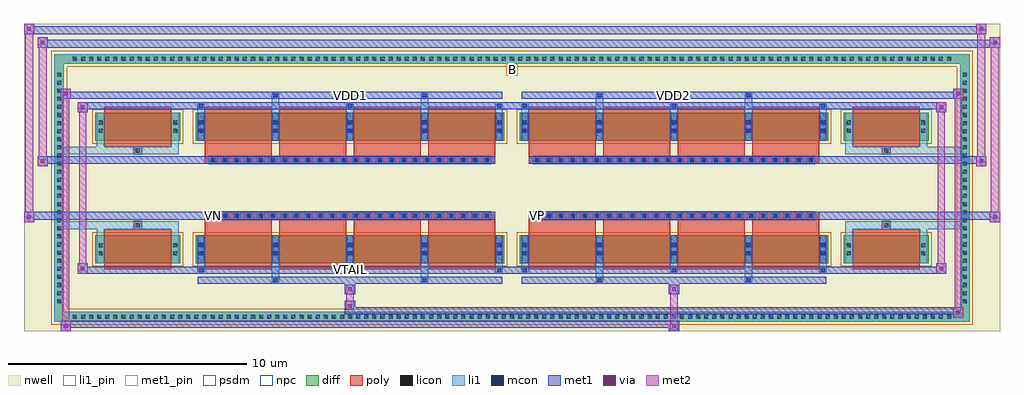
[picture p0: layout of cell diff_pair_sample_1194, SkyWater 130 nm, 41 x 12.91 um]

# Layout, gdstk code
import gdstk
lib = gdstk.Library(unit=1e-6, precision=5e-09)
def R(c, l, rs):  # rectangles x0, y0, x1, y1
    for r in rs: c.add(gdstk.rectangle(r[:2], r[2:], *l))
def A(c, l, x, y, w, h, nx, ny, dx, dy):  # array of equal rectangles
    R(c, l, [(x+i*dx, y+j*dy, x+i*dx+w, y+j*dy+h) for i in range(nx) for j in range(ny)])
def P(c, l, *ps):  # polygons
    for p in ps: c.add(gdstk.Polygon(p, *l))
nwell = (64, 20)
diff = (65, 20)
poly = (66, 20)
licon = (66, 44)
li1_pin = (67, 16)
li1 = (67, 20)
mcon = (67, 44)
met1_pin = (68, 16)
met1 = (68, 20)
via = (68, 44)
met2 = (69, 20)
psdm = (94, 20)
npc = (95, 20)

diff_pair_sample_1194 = lib.new_cell('diff_pair_sample_1194')
R(diff_pair_sample_1194, nwell, [(-20.5,-6.02,20.5,6.89), (-17.82,-4.21,-0.01,-0.805), (0.01,-4.21,17.82,-0.805), (-17.82,0.805,-0.01,4.21), (0.01,0.805,17.82,4.21)])
A(diff_pair_sample_1194, diff, -18.565, -5.62, 0.41, 0.41, 109, 2, 0.34, 10.83)
A(diff_pair_sample_1194, diff, -19.23, -4.965, 0.41, 0.41, 1, 29, 0, 0.34)
A(diff_pair_sample_1194, diff, 18.82, -4.965, 0.41, 0.41, 1, 29, 0, 0.34)
R(diff_pair_sample_1194, diff, [(-18.565,-5.62,18.565,-5.21), (-19.23,-4.965,-18.82,4.965), (18.82,-4.965,19.23,4.965), (-17.51,-3.165,-13.93,-1.985), (-13.29,-3.165,-0.32,-1.985), (0.32,-3.165,13.29,-1.985), (13.93,-3.165,17.51,-1.985), (-17.51,1.985,-13.93,3.165), (-13.29,1.985,-0.32,3.165), (0.32,1.985,13.29,3.165), (13.93,1.985,17.51,3.165), (-18.565,5.21,18.565,5.62)])
P(diff_pair_sample_1194, diff, [(19.23,5.62),(-19.23,5.62),(-19.23,-5.21),(-18.82,-5.21),(-18.82,5.21),(18.82,5.21),(18.82,-5.21),(-18.82,-5.21),(-19.23,-5.21),(-19.23,-5.62),(19.23,-5.62)])
A(diff_pair_sample_1194, poly, -12.9, -3.415, 2.8, 1.68, 4, 2, 3.13, 5.15)
A(diff_pair_sample_1194, poly, 0.71, -3.415, 2.8, 1.68, 4, 2, 3.13, 5.15)
A(diff_pair_sample_1194, poly, -12.9, -1.735, 2.8, 0.4, 4, 2, 3.13, 3.07)
A(diff_pair_sample_1194, poly, 0.71, -1.735, 2.8, 0.4, 4, 2, 3.13, 3.07)
A(diff_pair_sample_1194, poly, -12.72, -1.335, 0.33, 0.33, 24, 2, 0.5, 2.34)
A(diff_pair_sample_1194, poly, 0.89, -1.335, 0.33, 0.33, 24, 2, 0.5, 2.34)
R(diff_pair_sample_1194, poly, [(-17.12,-3.415,-14.32,-1.735), (14.32,-3.415,17.12,-1.735), (-15.885,-1.735,-15.555,-1.405), (-15.885,-1.735,-15.555,-1.405), (15.555,-1.735,15.885,-1.405), (15.555,-1.735,15.885,-1.405), (-12.9,-1.335,-0.71,-1.005), (0.71,-1.335,12.9,-1.005), (-12.9,1.005,-0.71,1.335), (0.71,1.005,12.9,1.335), (-15.885,1.405,-15.555,1.735), (-15.885,1.405,-15.555,1.735), (15.555,1.405,15.885,1.735), (15.555,1.405,15.885,1.735), (-17.12,1.735,-14.32,3.415), (14.32,1.735,17.12,3.415)])
A(diff_pair_sample_1194, licon, -18.445, -5.5, 0.17, 0.17, 109, 2, 0.34, 10.83)
A(diff_pair_sample_1194, licon, -19.11, -4.845, 0.17, 0.17, 1, 29, 0, 0.34)
A(diff_pair_sample_1194, licon, 18.94, -4.845, 0.17, 0.17, 1, 29, 0, 0.34)
A(diff_pair_sample_1194, licon, -13.15, -2.83, 0.17, 0.17, 5, 2, 3.13, 0.34)
A(diff_pair_sample_1194, licon, 0.46, -2.83, 0.17, 0.17, 5, 2, 3.13, 0.34)
A(diff_pair_sample_1194, licon, -12.64, -1.255, 0.17, 0.17, 24, 2, 0.5, 2.34)
A(diff_pair_sample_1194, licon, 0.97, -1.255, 0.17, 0.17, 24, 2, 0.5, 2.34)
A(diff_pair_sample_1194, licon, -13.15, 2.32, 0.17, 0.17, 5, 2, 3.13, 0.34)
A(diff_pair_sample_1194, licon, 0.46, 2.32, 0.17, 0.17, 5, 2, 3.13, 0.34)
R(diff_pair_sample_1194, licon, [(-17.37,-2.83,-17.2,-2.66), (-14.24,-2.83,-14.07,-2.66), (14.07,-2.83,14.24,-2.66), (17.2,-2.83,17.37,-2.66), (-17.37,-2.49,-17.2,-2.32), (-14.24,-2.49,-14.07,-2.32), (14.07,-2.49,14.24,-2.32), (17.2,-2.49,17.37,-2.32), (-15.805,-1.655,-15.635,-1.485), (15.635,-1.655,15.805,-1.485), (-15.805,1.485,-15.635,1.655), (15.635,1.485,15.805,1.655), (-17.37,2.32,-17.2,2.49), (-14.24,2.32,-14.07,2.49), (14.07,2.32,14.24,2.49), (17.2,2.32,17.37,2.49), (-17.37,2.66,-17.2,2.83), (-14.24,2.66,-14.07,2.83), (14.07,2.66,14.24,2.83), (17.2,2.66,17.37,2.83)])
R(diff_pair_sample_1194, li1_pin, [(-0.25,4.71,0.25,5.21)])
A(diff_pair_sample_1194, li1, -18.525, -5.58, 0.33, 0.33, 109, 2, 0.34, 10.83)
A(diff_pair_sample_1194, li1, -19.19, -4.925, 0.33, 0.33, 1, 29, 0, 0.34)
A(diff_pair_sample_1194, li1, 18.86, -4.925, 0.33, 0.33, 1, 29, 0, 0.34)
A(diff_pair_sample_1194, li1, -13.23, -3.54, 0.33, 0.375, 3, 2, 6.26, 6.705)
A(diff_pair_sample_1194, li1, -13.15, -3.54, 0.17, 0.17, 3, 2, 6.26, 6.91)
A(diff_pair_sample_1194, li1, 0.38, -3.54, 0.33, 0.375, 3, 2, 6.26, 6.705)
A(diff_pair_sample_1194, li1, 0.46, -3.54, 0.17, 0.17, 3, 2, 6.26, 6.91)
A(diff_pair_sample_1194, li1, -13.23, -3.165, 0.33, 1.18, 5, 2, 3.13, 5.15)
A(diff_pair_sample_1194, li1, 0.38, -3.165, 0.33, 1.18, 5, 2, 3.13, 5.15)
A(diff_pair_sample_1194, li1, -13.23, -2.91, 0.33, 0.33, 5, 2, 3.13, 0.34)
A(diff_pair_sample_1194, li1, 0.38, -2.91, 0.33, 0.33, 5, 2, 3.13, 0.34)
A(diff_pair_sample_1194, li1, -13.15, -2.84, 0.17, 0.17, 5, 2, 3.13, 0.36)
A(diff_pair_sample_1194, li1, -13.15, -2.84, 0.17, 0.53, 5, 2, 3.13, 5.15)
A(diff_pair_sample_1194, li1, 0.46, -2.84, 0.17, 0.17, 5, 2, 3.13, 0.36)
A(diff_pair_sample_1194, li1, 0.46, -2.84, 0.17, 0.53, 5, 2, 3.13, 5.15)
A(diff_pair_sample_1194, li1, -12.72, -1.335, 0.33, 0.33, 24, 2, 0.5, 2.34)
A(diff_pair_sample_1194, li1, 0.89, -1.335, 0.33, 0.33, 24, 2, 0.5, 2.34)
A(diff_pair_sample_1194, li1, -13.23, 2.24, 0.33, 0.33, 5, 2, 3.13, 0.34)
A(diff_pair_sample_1194, li1, 0.38, 2.24, 0.33, 0.33, 5, 2, 3.13, 0.34)
A(diff_pair_sample_1194, li1, -13.15, 2.31, 0.17, 0.17, 5, 2, 3.13, 0.36)
A(diff_pair_sample_1194, li1, 0.46, 2.31, 0.17, 0.17, 5, 2, 3.13, 0.36)
R(diff_pair_sample_1194, li1, [(-19.23,-5.62,-18.82,-5.21), (-19.23,-5.62,-18.82,-5.21), (-18.82,-5.62,18.82,-5.21), (18.82,-5.62,19.23,-5.21), (18.82,-5.62,19.23,-5.21), (-19.23,-5.21,-18.82,5.21), (18.82,-5.21,19.23,5.21), (-10.1,-3.97,-9.77,-3.165), (-10.02,-3.97,-9.85,-3.8), (-3.84,-3.97,-3.51,-3.165), (-3.76,-3.97,-3.59,-3.8), (3.51,-3.97,3.84,-3.165), (3.59,-3.97,3.76,-3.8), (9.77,-3.97,10.1,-3.165), (9.85,-3.97,10.02,-3.8), (-17.45,-3.165,-17.12,-1.985), (-14.32,-3.165,-13.99,-1.985), (13.99,-3.165,14.32,-1.985), (17.12,-3.165,17.45,-1.985), (-17.45,-2.91,-17.12,-2.58), (-14.32,-2.91,-13.99,-2.58), (13.99,-2.91,14.32,-2.58), (17.12,-2.91,17.45,-2.58), (-17.45,-2.57,-17.12,-2.24), (-14.32,-2.57,-13.99,-2.24), (13.99,-2.57,14.32,-2.24), (17.12,-2.57,17.45,-2.24), (-17.45,-1.985,-17.12,-1.405), (-14.32,-1.985,-13.99,-1.405), (13.99,-1.985,14.32,-1.405), (17.12,-1.985,17.45,-1.405), (-19.23,-1.735,-15.885,-1.405), (-17.45,-1.735,-15.885,-1.405), (-15.885,-1.735,-15.555,-1.405), (-15.555,-1.735,-13.99,-1.405), (13.99,-1.735,15.555,-1.405), (15.555,-1.735,15.885,-1.405), (15.555,-1.735,19.23,-1.405), (15.885,-1.735,17.45,-1.405), (-19.23,1.405,-15.885,1.735), (-17.45,1.405,-15.885,1.735), (-17.45,1.405,-17.12,1.985), (-15.885,1.405,-15.555,1.735), (-15.555,1.405,-13.99,1.735), (-14.32,1.405,-13.99,1.985), (13.99,1.405,15.555,1.735), (13.99,1.405,14.32,1.985), (15.555,1.405,15.885,1.735), (15.555,1.405,19.23,1.735), (15.885,1.405,17.45,1.735), (17.12,1.405,17.45,1.985), (-17.45,1.985,-17.12,3.165), (-14.32,1.985,-13.99,3.165), (13.99,1.985,14.32,3.165), (17.12,1.985,17.45,3.165), (-17.45,2.24,-17.12,2.57), (-14.32,2.24,-13.99,2.57), (13.99,2.24,14.32,2.57), (17.12,2.24,17.45,2.57), (-17.45,2.58,-17.12,2.91), (-14.32,2.58,-13.99,2.91), (13.99,2.58,14.32,2.91), (17.12,2.58,17.45,2.91), (-10.1,3.165,-9.77,3.97), (-3.84,3.165,-3.51,3.97), (3.51,3.165,3.84,3.97), (9.77,3.165,10.1,3.97), (-10.02,3.8,-9.85,3.97), (-3.76,3.8,-3.59,3.97), (3.59,3.8,3.76,3.97), (9.85,3.8,10.02,3.97), (-19.23,5.21,-18.82,5.62), (-19.23,5.21,-18.82,5.62), (-18.82,5.21,18.82,5.62), (18.82,5.21,19.23,5.62), (18.82,5.21,19.23,5.62)])
A(diff_pair_sample_1194, mcon, -13.15, -3.54, 0.17, 0.17, 3, 2, 6.26, 6.91)
A(diff_pair_sample_1194, mcon, 0.46, -3.54, 0.17, 0.17, 3, 2, 6.26, 6.91)
A(diff_pair_sample_1194, mcon, -13.15, -2.84, 0.17, 0.17, 5, 2, 3.13, 0.36)
A(diff_pair_sample_1194, mcon, 0.46, -2.84, 0.17, 0.17, 5, 2, 3.13, 0.36)
A(diff_pair_sample_1194, mcon, -12.64, -1.255, 0.17, 0.17, 24, 2, 0.5, 2.34)
A(diff_pair_sample_1194, mcon, 0.97, -1.255, 0.17, 0.17, 24, 2, 0.5, 2.34)
A(diff_pair_sample_1194, mcon, -13.15, 2.31, 0.17, 0.17, 5, 2, 3.13, 0.36)
A(diff_pair_sample_1194, mcon, 0.46, 2.31, 0.17, 0.17, 5, 2, 3.13, 0.36)
R(diff_pair_sample_1194, mcon, [(-10.02,-3.97,-9.85,-3.8), (-3.76,-3.97,-3.59,-3.8), (3.59,-3.97,3.76,-3.8), (9.85,-3.97,10.02,-3.8), (-10.02,3.8,-9.85,3.97), (-3.76,3.8,-3.59,3.97), (3.59,3.8,3.76,3.97), (9.85,3.8,10.02,3.97)])
R(diff_pair_sample_1194, met1_pin, [(-6.94,-3.58,-6.67,-3.31), (-12.69,-1.295,-12.42,-1.025), (0.92,-1.295,1.19,-1.025), (-6.94,3.76,-6.67,4.03), (6.67,3.76,6.94,4.03)])
A(diff_pair_sample_1194, met1, -13.21, -3.6, 0.29, 0.29, 3, 2, 6.26, 6.91)
A(diff_pair_sample_1194, met1, 0.4, -3.6, 0.29, 0.29, 3, 2, 6.26, 6.91)
A(diff_pair_sample_1194, met1, -13.21, -3.165, 0.29, 1.18, 5, 2, 3.13, 5.15)
A(diff_pair_sample_1194, met1, 0.4, -3.165, 0.29, 1.18, 5, 2, 3.13, 5.15)
A(diff_pair_sample_1194, met1, -13.21, -2.9, 0.29, 0.29, 5, 2, 3.13, 0.36)
A(diff_pair_sample_1194, met1, 0.4, -2.9, 0.29, 0.29, 5, 2, 3.13, 0.36)
A(diff_pair_sample_1194, met1, -12.7, -1.315, 0.29, 0.29, 24, 2, 0.5, 2.34)
A(diff_pair_sample_1194, met1, 0.91, -1.315, 0.29, 0.29, 24, 2, 0.5, 2.34)
A(diff_pair_sample_1194, met1, -13.21, 2.25, 0.29, 0.29, 5, 2, 3.13, 0.36)
A(diff_pair_sample_1194, met1, 0.4, 2.25, 0.29, 0.29, 5, 2, 3.13, 0.36)
R(diff_pair_sample_1194, met1, [(-18.96,-6.02,-18.53,-5.59), (6.59,-6.02,7.02,-5.59), (-18.96,-5.88,7.02,-5.59), (18.53,-5.45,18.96,-5.02), (-7.02,-5.31,18.96,-5.02), (-7.02,-5.17,-6.59,-4.74), (-7.02,-4.46,-6.59,-4.03), (6.59,-4.46,7.02,-4.03), (-13.21,-4.03,-0.4,-3.74), (-10.08,-4.03,-9.79,-3.74), (-3.82,-4.03,-3.53,-3.74), (0.4,-4.03,13.21,-3.74), (3.53,-4.03,3.82,-3.74), (9.79,-4.03,10.08,-3.74), (-18.25,-3.6,-17.82,-3.17), (-18.25,-3.6,-13.21,-3.31), (-13.21,-3.6,-0.4,-3.31), (-0.4,-3.6,0.4,-3.31), (0.4,-3.6,13.21,-3.31), (13.21,-3.6,18.25,-3.31), (17.82,-3.6,18.25,-3.17), (-20.5,-1.435,-20.07,-1.005), (20.07,-1.435,20.5,-1.005), (-20.5,-1.335,-0.71,-1.005), (-12.9,-1.335,-0.71,-1.005), (0.71,-1.335,12.9,-1.005), (0.71,-1.335,20.5,-1.005), (-19.93,0.905,-19.5,1.335), (19.5,0.905,19.93,1.335), (-19.93,1.005,-12.9,1.335), (-12.9,1.005,-0.71,1.335), (0.71,1.005,12.9,1.335), (12.9,1.005,19.93,1.335), (-18.25,3.17,-17.82,3.6), (17.82,3.17,18.25,3.6), (-18.25,3.31,-13.21,3.6), (-13.21,3.31,-0.4,3.6), (-0.4,3.31,0.4,3.6), (0.4,3.31,13.21,3.6), (13.21,3.31,18.25,3.6), (-18.96,3.74,-18.53,4.17), (-18.96,3.74,-13.21,4.03), (-13.21,3.74,-0.4,4.03), (-10.08,3.74,-9.79,4.03), (-3.82,3.74,-3.53,4.03), (0.4,3.74,13.21,4.03), (3.53,3.74,3.82,4.03), (9.79,3.74,10.08,4.03), (13.21,3.74,18.96,4.03), (18.53,3.74,18.96,4.17), (-19.93,5.89,-19.5,6.32), (-19.93,5.89,-17.82,6.22), (-17.82,5.89,17.82,6.22), (17.82,5.89,20.5,6.22), (20.07,5.89,20.5,6.32), (-20.5,6.46,-20.07,6.89), (-20.5,6.46,-17.82,6.79), (-17.82,6.46,17.82,6.79), (17.82,6.46,19.93,6.79), (19.5,6.46,19.93,6.89)])
R(diff_pair_sample_1194, via, [(-18.82,-5.88,-18.67,-5.73), (6.73,-5.88,6.88,-5.73), (18.67,-5.31,18.82,-5.16), (-6.88,-5.03,-6.73,-4.88), (-6.88,-4.32,-6.73,-4.17), (6.73,-4.32,6.88,-4.17), (-18.11,-3.46,-17.96,-3.31), (17.96,-3.46,18.11,-3.31), (-20.36,-1.295,-20.21,-1.145), (20.21,-1.295,20.36,-1.145), (-19.79,1.045,-19.64,1.195), (19.64,1.045,19.79,1.195), (-18.11,3.31,-17.96,3.46), (17.96,3.31,18.11,3.46), (-18.82,3.88,-18.67,4.03), (18.67,3.88,18.82,4.03), (-19.79,6.03,-19.64,6.18), (20.21,6.03,20.36,6.18), (-20.36,6.6,-20.21,6.75), (19.64,6.6,19.79,6.75)])
R(diff_pair_sample_1194, met2, [(-18.96,-6.02,-18.53,-5.59), (-18.89,-6.02,-18.6,4.17), (-18.6,-6.02,-18.53,-5.59), (-18.91,-5.97,-18.58,-5.64), (6.64,-5.97,6.97,-5.64), (6.64,-5.64,6.97,-4.41), (18.53,-5.45,18.96,-5.02), (18.6,-5.45,18.89,4.17), (18.89,-5.45,18.96,-5.02), (18.58,-5.4,18.91,-5.07), (-6.97,-5.12,-6.64,-4.79), (-6.97,-4.79,-6.64,-4.41), (-6.97,-4.41,-6.64,-4.08), (6.64,-4.41,6.97,-4.08), (-18.25,-3.6,-17.82,-3.17), (-18.18,-3.6,-17.89,3.6), (-17.89,-3.6,-17.82,-3.17), (17.82,-3.6,18.25,-3.17), (17.89,-3.6,18.18,3.6), (18.18,-3.6,18.25,-3.17), (-18.2,-3.55,-17.87,-3.22), (17.87,-3.55,18.2,-3.22), (-20.5,-1.435,-20.07,-1.005), (-20.45,-1.435,-20.12,6.89), (-20.12,-1.435,-20.07,-1.005), (20.07,-1.435,20.5,-1.005), (20.12,-1.435,20.45,6.32), (20.45,-1.435,20.5,-1.005), (-20.45,-1.385,-20.12,-1.055), (20.12,-1.385,20.45,-1.055), (-19.93,0.905,-19.5,1.335), (-19.88,0.905,-19.55,6.32), (-19.55,0.905,-19.5,1.335), (19.5,0.905,19.93,1.335), (19.55,0.905,19.88,6.89), (19.88,0.905,19.93,1.335), (-19.88,0.955,-19.55,1.285), (19.55,0.955,19.88,1.285), (-18.25,3.17,-17.82,3.6), (-17.89,3.17,-17.82,3.6), (17.82,3.17,18.25,3.6), (18.18,3.17,18.25,3.6), (-18.2,3.22,-17.87,3.55), (17.87,3.22,18.2,3.55), (-18.96,3.74,-18.53,4.17), (-18.6,3.74,-18.53,4.17), (18.53,3.74,18.96,4.17), (18.89,3.74,18.96,4.17), (-18.91,3.79,-18.58,4.12), (18.58,3.79,18.91,4.12), (-19.93,5.89,-19.5,6.32), (-19.55,5.89,-19.5,6.32), (20.07,5.89,20.5,6.32), (20.45,5.89,20.5,6.32), (-19.88,5.94,-19.55,6.27), (20.12,5.94,20.45,6.27), (-20.5,6.46,-20.07,6.89), (-20.12,6.46,-20.07,6.89), (19.5,6.46,19.93,6.89), (19.88,6.46,19.93,6.89), (-20.45,6.51,-20.12,6.84), (19.55,6.51,19.88,6.84)])
R(diff_pair_sample_1194, psdm, [(-17.64,-3.295,-13.8,-1.855), (-13.42,-3.295,-0.19,-1.855), (0.19,-3.295,13.42,-1.855), (13.8,-3.295,17.64,-1.855), (-17.64,1.855,-13.8,3.295), (-13.42,1.855,-0.19,3.295), (0.19,1.855,13.42,3.295), (13.8,1.855,17.64,3.295)])
P(diff_pair_sample_1194, psdm, [(19.36,5.75),(-19.36,5.75),(-19.36,-5.08),(-18.69,-5.08),(-18.69,5.08),(18.69,5.08),(18.69,-5.08),(-18.69,-5.08),(-19.36,-5.08),(-19.36,-5.75),(19.36,-5.75)])
A(diff_pair_sample_1194, npc, -12.74, -1.355, 0.37, 0.37, 24, 2, 0.5, 2.34)
A(diff_pair_sample_1194, npc, 0.87, -1.355, 0.37, 0.37, 24, 2, 0.5, 2.34)
R(diff_pair_sample_1194, npc, [(-15.905,-1.755,-15.535,-1.385), (15.535,-1.755,15.905,-1.385), (-12.74,-1.355,-11.87,-0.985), (-12.74,-1.355,-11.87,-0.985), (-12.24,-1.355,-11.37,-0.985), (-12.24,-1.355,-11.37,-0.985), (-11.74,-1.355,-10.87,-0.985), (-11.74,-1.355,-10.87,-0.985), (-11.24,-1.355,-10.37,-0.985), (-11.24,-1.355,-10.37,-0.985), (-10.74,-1.355,-9.87,-0.985), (-10.74,-1.355,-9.87,-0.985), (-10.24,-1.355,-9.37,-0.985), (-10.24,-1.355,-9.37,-0.985), (-9.74,-1.355,-8.87,-0.985), (-9.74,-1.355,-8.87,-0.985), (-9.24,-1.355,-8.37,-0.985), (-9.24,-1.355,-8.37,-0.985), (-8.74,-1.355,-7.87,-0.985), (-8.74,-1.355,-7.87,-0.985), (-8.24,-1.355,-7.37,-0.985), (-8.24,-1.355,-7.37,-0.985), (-7.74,-1.355,-6.87,-0.985), (-7.74,-1.355,-6.87,-0.985), (-7.24,-1.355,-6.37,-0.985), (-7.24,-1.355,-6.37,-0.985), (-6.74,-1.355,-5.87,-0.985), (-6.74,-1.355,-5.87,-0.985), (-6.24,-1.355,-5.37,-0.985), (-6.24,-1.355,-5.37,-0.985), (-5.74,-1.355,-4.87,-0.985), (-5.74,-1.355,-4.87,-0.985), (-5.24,-1.355,-4.37,-0.985), (-5.24,-1.355,-4.37,-0.985), (-4.74,-1.355,-3.87,-0.985), (-4.74,-1.355,-3.87,-0.985), (-4.24,-1.355,-3.37,-0.985), (-4.24,-1.355,-3.37,-0.985), (-3.74,-1.355,-2.87,-0.985), (-3.74,-1.355,-2.87,-0.985), (-3.24,-1.355,-2.37,-0.985), (-3.24,-1.355,-2.37,-0.985), (-2.74,-1.355,-1.87,-0.985), (-2.74,-1.355,-1.87,-0.985), (-2.24,-1.355,-1.37,-0.985), (-2.24,-1.355,-1.37,-0.985), (-1.74,-1.355,-0.87,-0.985), (-1.74,-1.355,-0.87,-0.985), (0.87,-1.355,1.74,-0.985), (0.87,-1.355,1.74,-0.985), (1.37,-1.355,2.24,-0.985), (1.37,-1.355,2.24,-0.985), (1.87,-1.355,2.74,-0.985), (1.87,-1.355,2.74,-0.985), (2.37,-1.355,3.24,-0.985), (2.37,-1.355,3.24,-0.985), (2.87,-1.355,3.74,-0.985), (2.87,-1.355,3.74,-0.985), (3.37,-1.355,4.24,-0.985), (3.37,-1.355,4.24,-0.985), (3.87,-1.355,4.74,-0.985), (3.87,-1.355,4.74,-0.985), (4.37,-1.355,5.24,-0.985), (4.37,-1.355,5.24,-0.985), (4.87,-1.355,5.74,-0.985), (4.87,-1.355,5.74,-0.985), (5.37,-1.355,6.24,-0.985), (5.37,-1.355,6.24,-0.985), (5.87,-1.355,6.74,-0.985), (5.87,-1.355,6.74,-0.985), (6.37,-1.355,7.24,-0.985), (6.37,-1.355,7.24,-0.985), (6.87,-1.355,7.74,-0.985), (6.87,-1.355,7.74,-0.985), (7.37,-1.355,8.24,-0.985), (7.37,-1.355,8.24,-0.985), (7.87,-1.355,8.74,-0.985), (7.87,-1.355,8.74,-0.985), (8.37,-1.355,9.24,-0.985), (8.37,-1.355,9.24,-0.985), (8.87,-1.355,9.74,-0.985), (8.87,-1.355,9.74,-0.985), (9.37,-1.355,10.24,-0.985), (9.37,-1.355,10.24,-0.985), (9.87,-1.355,10.74,-0.985), (9.87,-1.355,10.74,-0.985), (10.37,-1.355,11.24,-0.985), (10.37,-1.355,11.24,-0.985), (10.87,-1.355,11.74,-0.985), (10.87,-1.355,11.74,-0.985), (11.37,-1.355,12.24,-0.985), (11.37,-1.355,12.24,-0.985), (11.87,-1.355,12.74,-0.985), (11.87,-1.355,12.74,-0.985), (-12.74,0.985,-11.87,1.355), (-12.74,0.985,-11.87,1.355), (-12.24,0.985,-11.37,1.355), (-12.24,0.985,-11.37,1.355), (-11.74,0.985,-10.87,1.355), (-11.74,0.985,-10.87,1.355), (-11.24,0.985,-10.37,1.355), (-11.24,0.985,-10.37,1.355), (-10.74,0.985,-9.87,1.355), (-10.74,0.985,-9.87,1.355), (-10.24,0.985,-9.37,1.355), (-10.24,0.985,-9.37,1.355), (-9.74,0.985,-8.87,1.355), (-9.74,0.985,-8.87,1.355), (-9.24,0.985,-8.37,1.355), (-9.24,0.985,-8.37,1.355), (-8.74,0.985,-7.87,1.355), (-8.74,0.985,-7.87,1.355), (-8.24,0.985,-7.37,1.355), (-8.24,0.985,-7.37,1.355), (-7.74,0.985,-6.87,1.355), (-7.74,0.985,-6.87,1.355), (-7.24,0.985,-6.37,1.355), (-7.24,0.985,-6.37,1.355), (-6.74,0.985,-5.87,1.355), (-6.74,0.985,-5.87,1.355), (-6.24,0.985,-5.37,1.355), (-6.24,0.985,-5.37,1.355), (-5.74,0.985,-4.87,1.355), (-5.74,0.985,-4.87,1.355), (-5.24,0.985,-4.37,1.355), (-5.24,0.985,-4.37,1.355), (-4.74,0.985,-3.87,1.355), (-4.74,0.985,-3.87,1.355), (-4.24,0.985,-3.37,1.355), (-4.24,0.985,-3.37,1.355), (-3.74,0.985,-2.87,1.355), (-3.74,0.985,-2.87,1.355), (-3.24,0.985,-2.37,1.355), (-3.24,0.985,-2.37,1.355), (-2.74,0.985,-1.87,1.355), (-2.74,0.985,-1.87,1.355), (-2.24,0.985,-1.37,1.355), (-2.24,0.985,-1.37,1.355), (-1.74,0.985,-0.87,1.355), (-1.74,0.985,-0.87,1.355), (0.87,0.985,1.74,1.355), (0.87,0.985,1.74,1.355), (1.37,0.985,2.24,1.355), (1.37,0.985,2.24,1.355), (1.87,0.985,2.74,1.355), (1.87,0.985,2.74,1.355), (2.37,0.985,3.24,1.355), (2.37,0.985,3.24,1.355), (2.87,0.985,3.74,1.355), (2.87,0.985,3.74,1.355), (3.37,0.985,4.24,1.355), (3.37,0.985,4.24,1.355), (3.87,0.985,4.74,1.355), (3.87,0.985,4.74,1.355), (4.37,0.985,5.24,1.355), (4.37,0.985,5.24,1.355), (4.87,0.985,5.74,1.355), (4.87,0.985,5.74,1.355), (5.37,0.985,6.24,1.355), (5.37,0.985,6.24,1.355), (5.87,0.985,6.74,1.355), (5.87,0.985,6.74,1.355), (6.37,0.985,7.24,1.355), (6.37,0.985,7.24,1.355), (6.87,0.985,7.74,1.355), (6.87,0.985,7.74,1.355), (7.37,0.985,8.24,1.355), (7.37,0.985,8.24,1.355), (7.87,0.985,8.74,1.355), (7.87,0.985,8.74,1.355), (8.37,0.985,9.24,1.355), (8.37,0.985,9.24,1.355), (8.87,0.985,9.74,1.355), (8.87,0.985,9.74,1.355), (9.37,0.985,10.24,1.355), (9.37,0.985,10.24,1.355), (9.87,0.985,10.74,1.355), (9.87,0.985,10.74,1.355), (10.37,0.985,11.24,1.355), (10.37,0.985,11.24,1.355), (10.87,0.985,11.74,1.355), (10.87,0.985,11.74,1.355), (11.37,0.985,12.24,1.355), (11.37,0.985,12.24,1.355), (11.87,0.985,12.74,1.355), (11.87,0.985,12.74,1.355), (-15.905,1.385,-15.535,1.755), (15.535,1.385,15.905,1.755)])
diff_pair_sample_1194.add(gdstk.Label('VTAIL', (-6.805,-3.445), layer=68, texttype=5))
diff_pair_sample_1194.add(gdstk.Label('VN', (-12.555,-1.16), layer=68, texttype=5))
diff_pair_sample_1194.add(gdstk.Label('VP', (1.055,-1.16), layer=68, texttype=5))
diff_pair_sample_1194.add(gdstk.Label('B', (0,4.96), layer=67, texttype=5))
diff_pair_sample_1194.add(gdstk.Label('VDD2', (6.805,3.895), layer=68, texttype=5))
diff_pair_sample_1194.add(gdstk.Label('VDD1', (-6.805,3.895), layer=68, texttype=5))

lib.write_gds('diff_pair_sample_1194.gds')
